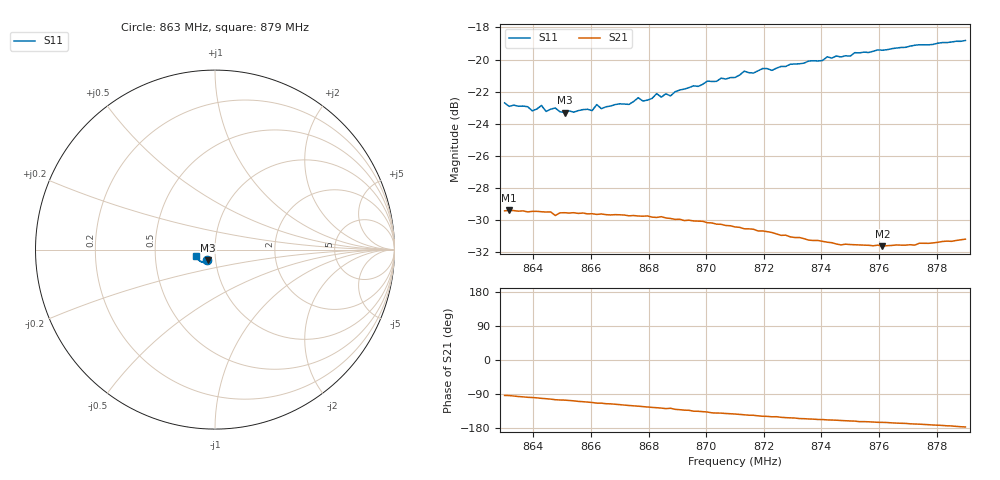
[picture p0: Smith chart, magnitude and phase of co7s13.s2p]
# HZ S RI R 50
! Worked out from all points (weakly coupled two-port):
!   101 points, 863 MHz to 879 MHz, reference 50 ohm
!   highest |S21| = -29.39 dB at 863.16 MHz (marker M1); lowest = -31.6 dB at 876.12 MHz (marker M2)
!   lowest |S11| = -23.3 dB at 865.08 MHz (marker M3), VSWR 1.15, Z = 46.1 - j5.28 ohm
!   |S11| at or under -10 dB: start of sweep to end of sweep
!   S12 and S22 are empty: the file has one direction only
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8.63e8  -0.0459 -0.0571  -0.00205 -0.0337  0 0  0 0
8.6316e8  -0.0443 -0.0561  -0.00227 -0.0339  0 0  0 0
8.6396e8  -0.0416 -0.0554  -0.00527 -0.0333  0 0  0 0
8.6428e8  -0.0427 -0.0579  -0.00649 -0.0329  0 0  0 0
8.6444e8  -0.0404 -0.0558  -0.00707 -0.0328  0 0  0 0
8.6476e8  -0.0397 -0.0584  -0.00837 -0.0316  0 0  0 0
8.6508e8  -0.0378 -0.057  -0.00911 -0.0321  0 0  0 0
8.6572e8  -0.0382 -0.0585  -0.0114 -0.0313  0 0  0 0
8.6604e8  -0.0372 -0.0585  -0.0125 -0.0307  0 0  0 0
8.662e8  -0.0387 -0.0612  -0.0133 -0.0301  0 0  0 0
8.6636e8  -0.0381 -0.0591  -0.0134 -0.0302  0 0  0 0
8.6732e8  -0.0361 -0.0629  -0.0163 -0.0282  0 0  0 0
8.6828e8  -0.0393 -0.0677  -0.0189 -0.0261  0 0  0 0
8.6844e8  -0.0382 -0.0662  -0.0194 -0.0259  0 0  0 0
8.7004e8  -0.0466 -0.0719  -0.0228 -0.0211  0 0  0 0
8.71e8  -0.0508 -0.0718  -0.0239 -0.0183  0 0  0 0
8.7132e8  -0.056 -0.073  -0.0242 -0.0172  0 0  0 0
8.7228e8  -0.0583 -0.0718  -0.025 -0.0145  0 0  0 0
8.7372e8  -0.0698 -0.0704  -0.025 -0.0111  0 0  0 0
8.7612e8  -0.0883 -0.0603  -0.0253 -0.00697  0 0  0 0
8.7644e8  -0.0906 -0.0589  -0.0256 -0.00642  0 0  0 0
8.79e8  -0.1086 -0.0368  -0.0276 -0.00159  0 0  0 0
